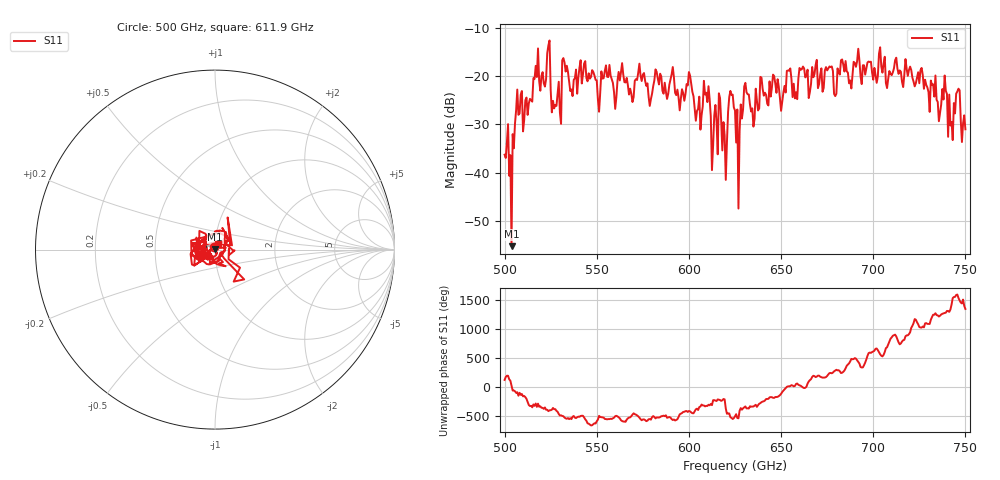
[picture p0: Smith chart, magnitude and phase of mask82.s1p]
!Created with skrf (http://scikit-rf.org).
# GHz S MA R 50.0
!freq magS11 angS11
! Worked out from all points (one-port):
!   401 points, 500 GHz to 750 GHz, reference 50 ohm
!   lowest |S11| = -55.1 dB at 503.8 GHz (marker M1), VSWR 1.00, Z = 50.2 + j0.0596 ohm
!   |S11| at or under -10 dB: start of sweep to end of sweep
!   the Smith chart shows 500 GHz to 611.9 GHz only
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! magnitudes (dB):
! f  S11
! 500 GHz  -36.3
! 503.8 GHz  -55.1
! 507.5 GHz  -28.0
! 513.8 GHz  -24.7
! 516.9 GHz  -17.9
! 523.8 GHz  -13.7
! 526.9 GHz  -26.7
! 531.2 GHz  -16.8
! 562.5 GHz  -20.9
! 593.8 GHz  -22.8
! 605 GHz  -26.8
! 609.4 GHz  -23.5
! 612.5 GHz  -39.4
! 617.5 GHz  -29.3
! 619.4 GHz  -32.3
! 622.5 GHz  -23.1
! 625 GHz  -27.1
! 626.2 GHz  -26.9
! 631.2 GHz  -23.4
! 634.4 GHz  -26.7
! 656.2 GHz  -24.4
! 687.5 GHz  -20.9
! 718.8 GHz  -20.0
! 735.6 GHz  -29.3
! 738.8 GHz  -19.9
! 741.9 GHz  -30.2
! 745.6 GHz  -23.2
! 750 GHz  -31.0
